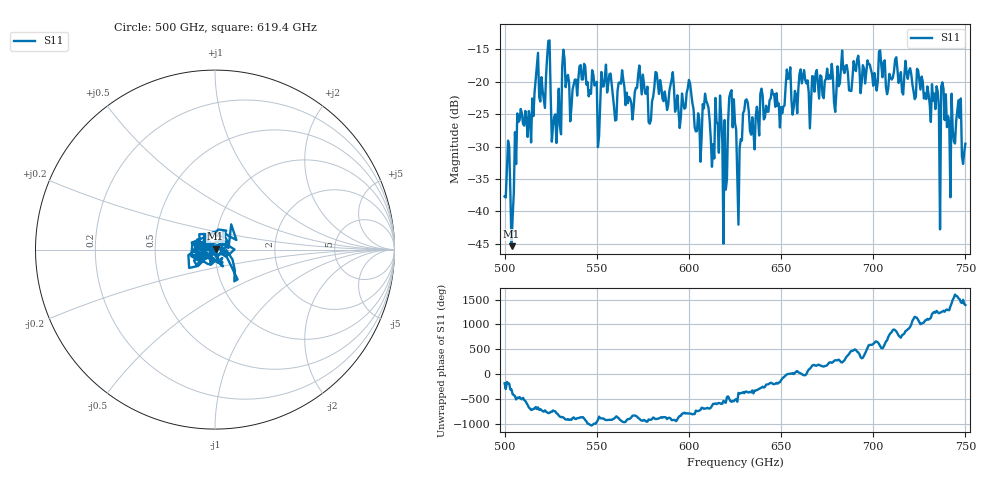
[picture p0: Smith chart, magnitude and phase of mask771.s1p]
!Created with skrf (http://scikit-rf.org).
# GHz S MA R 50.0
!freq magS11 angS11
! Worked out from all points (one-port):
!   401 points, 500 GHz to 750 GHz, reference 50 ohm
!   lowest |S11| = -45.4 dB at 503.8 GHz (marker M1), VSWR 1.01, Z = 50.3 + j0.455 ohm
!   |S11| at or under -10 dB: start of sweep to end of sweep
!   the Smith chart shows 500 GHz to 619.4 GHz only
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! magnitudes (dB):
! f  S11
! 500 GHz  -37.7
! 503.8 GHz  -45.4
! 508.1 GHz  -25.9
! 513.1 GHz  -24.5
! 523.8 GHz  -13.7
! 526.9 GHz  -25.4
! 531.2 GHz  -17.6
! 562.5 GHz  -20.1
! 593.8 GHz  -22.1
! 600 GHz  -19.7
! 605.6 GHz  -25.8
! 609.4 GHz  -22.9
! 612.5 GHz  -33.1
! 615.6 GHz  -26.4
! 619.4 GHz  -25.9
! 622.5 GHz  -21.7
! 625 GHz  -26.4
! 627.5 GHz  -30.3
! 630.6 GHz  -22.9
! 634.4 GHz  -25.5
! 656.2 GHz  -25.1
! 687.5 GHz  -21.4
! 718.8 GHz  -19.6
! 735 GHz  -21.5
! 738.1 GHz  -21.1
! 743.1 GHz  -27.3
! 746.2 GHz  -22.9
! 750 GHz  -29.6
